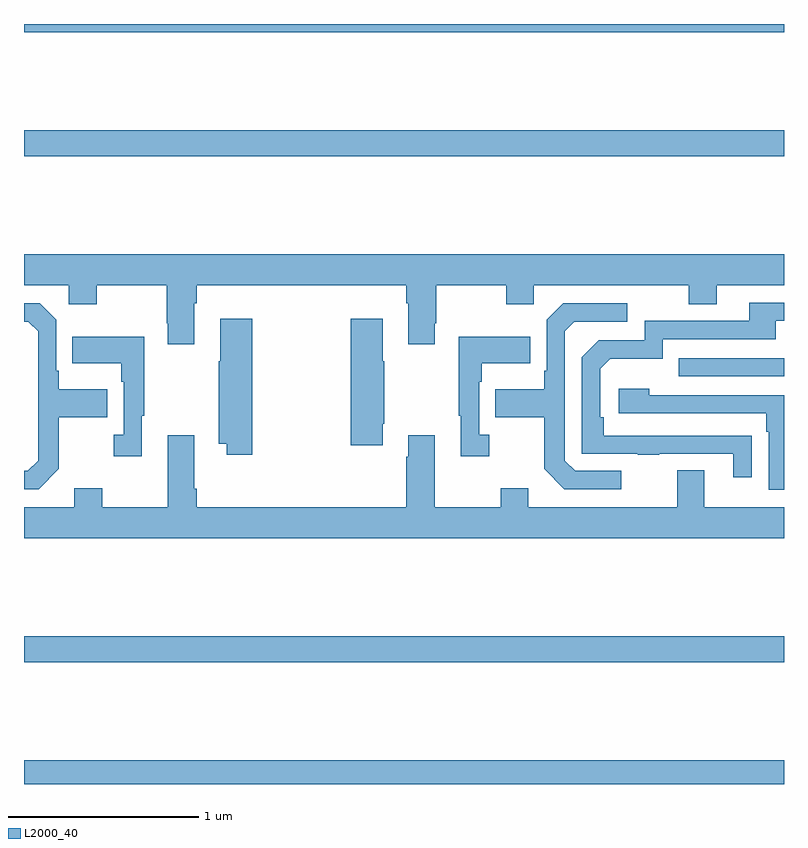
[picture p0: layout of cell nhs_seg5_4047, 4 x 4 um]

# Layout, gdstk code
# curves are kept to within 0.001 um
import gdstk
lib = gdstk.Library(unit=1e-6, precision=1e-09)
def R(c, l, rs):  # rectangles x0, y0, x1, y1
    for r in rs: c.add(gdstk.rectangle(r[:2], r[2:], *l))
def P(c, l, *ps):  # polygons
    for p in ps: c.add(gdstk.Polygon(p, *l))
L2000_40 = (2000, 40)

nhs_seg5_4047 = lib.new_cell('nhs_seg5_4047')
R(nhs_seg5_4047, L2000_40, [(349,856.799,353,856.924), (349,857.44,353,857.576), (352.447,858.945,353,859.041), (349,860.104,353,860.24), (349,860.756,353,860.799)])
P(nhs_seg5_4047, L2000_40, [(349,859.424),(349.236,859.424),(349.236,859.325),(349.383,859.325),(349.383,859.424),(349.75,859.424),(349.75,859.225),(349.757,859.225),(349.757,859.113),(349.897,859.113),(349.897,859.328),(349.91,859.328),(349.91,859.424),(351.011,859.424),(351.011,859.328),(351.023,859.328),(351.023,859.113),(351.163,859.113),(351.163,859.225),(351.171,859.225),(351.171,859.424),(351.538,859.424),(351.538,859.325),(351.684,859.325),(351.684,859.424),(352.498,859.424),(352.498,859.325),(352.645,859.325),(352.645,859.424),(353,859.424),(353,859.588),(349,859.588)],
  [(352.829,858.632),(352.052,858.633),(352.052,858.73),(352.032,858.73),(352.032,858.984),(352.085,859.037),(352.362,859.037),(352.362,859.14),(352.957,859.14),(352.957,859.236),(353,859.236),(353,859.332),(352.817,859.332),(352.817,859.236),(352.266,859.236),(352.266,859.134),(352.026,859.134),(351.936,859.044),(351.936,858.537),(352.231,858.537),(352.231,858.532),(352.343,858.532),(352.343,858.537),(352.733,858.537),(352.733,858.414),(352.829,858.414)],
  [(352.144,858.447),(351.9,858.447),(351.846,858.501),(351.846,859.182),(351.897,859.233),(352.174,859.233),(352.174,859.329),(351.837,859.329),(351.75,859.242),(351.75,858.973),(351.738,858.973),(351.738,858.877),(351.481,858.877),(351.481,858.73),(351.738,858.73),(351.738,858.457),(351.843,858.351),(352.144,858.351)],
  [(349.183,858.457),(349.183,858.73),(349.439,858.73),(349.439,858.877),(349.183,858.877),(349.183,858.973),(349.17,858.973),(349.17,859.242),(349.083,859.329),(349,859.329),(349,859.233),(349.023,859.233),(349.074,859.182),(349.074,858.501),(349.02,858.447),(349,858.447),(349,858.351),(349.077,858.351)],
  [(350.201,859.249),(350.033,859.249),(350.033,859.025),(350.026,859.025),(350.026,858.59),(350.066,858.59),(350.066,858.531),(350.201,858.531)],
  [(350.887,858.694),(350.895,858.694),(350.895,859.025),(350.887,859.025),(350.887,859.249),(350.72,859.249),(350.72,858.582),(350.887,858.582)],
  [(351.448,858.638),(351.396,858.638),(351.396,858.917),(351.409,858.917),(351.409,859.013),(351.665,859.013),(351.665,859.153),(351.288,859.153),(351.288,858.737),(351.299,858.737),(351.299,858.525),(351.448,858.525)],
  [(349.621,858.737),(349.633,858.737),(349.633,859.153),(349.255,859.153),(349.255,859.013),(349.512,859.013),(349.512,858.917),(349.524,858.917),(349.524,858.638),(349.473,858.638),(349.473,858.525),(349.621,858.525)],
  [(353,858.846),(352.292,858.846),(352.292,858.88),(352.131,858.88),(352.131,858.75),(352.907,858.75),(352.907,858.653),(352.92,858.653),(352.92,858.348),(353,858.348)],
  [(353,858.256),(352.579,858.256),(352.579,858.451),(352.439,858.451),(352.439,858.256),(351.655,858.256),(351.655,858.355),(351.508,858.355),(351.508,858.256),(351.163,858.256),(351.163,858.634),(351.023,858.634),(351.023,858.521),(351.011,858.521),(351.011,858.256),(349.91,858.256),(349.91,858.352),(349.897,858.352),(349.897,858.634),(349.757,858.634),(349.757,858.256),(349.413,858.256),(349.413,858.355),(349.265,858.355),(349.265,858.256),(349,858.256),(349,858.092),(353,858.092)])

lib.write_gds('nhs_seg5_4047.gds')
